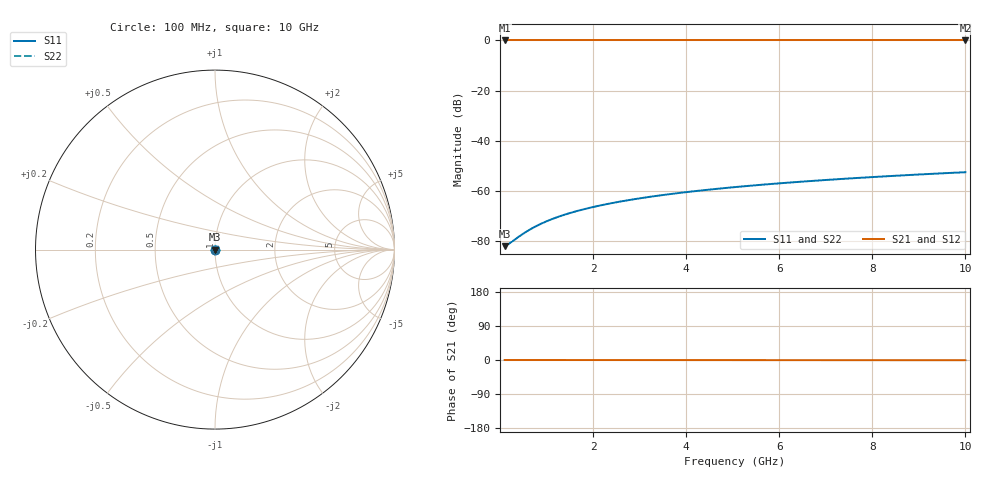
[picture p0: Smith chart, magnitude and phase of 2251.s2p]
# Hz S RI R 50.00
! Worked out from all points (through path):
!   100 points, 100 MHz to 10 GHz, reference 50 ohm
!   highest |S21| = 0.00 dB at 100 MHz (marker M1); lowest = 0.0 dB at 10 GHz (marker M2)
!   lowest |S11| = -81.9 dB at 100 MHz (marker M3), VSWR 1.00, Z = 50 + j0.00237 ohm
!   |S11| at or under -10 dB: start of sweep to end of sweep
!   |S22| runs from -81.9 to -52.5 dB; largest |S21 - S12| = 0
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1e8  7.65e-05 2.37e-05  0.9999 -9.64e-05  0.9999 -9.64e-05  7.65e-05 2.37e-05
2e8  7.7e-05 4.75e-05  0.9999 -0.000193  0.9999 -0.000193  7.7e-05 4.75e-05
3e8  7.73e-05 7.12e-05  0.9999 -0.000289  0.9999 -0.000289  7.73e-05 7.12e-05
5e8  7.79e-05 0.000119  0.9999 -0.000482  0.9999 -0.000482  7.79e-05 0.000119
6e8  7.81e-05 0.000142  0.9999 -0.000578  0.9999 -0.000578  7.81e-05 0.000142
7e8  7.83e-05 0.000166  0.9999 -0.000675  0.9999 -0.000675  7.83e-05 0.000166
9e8  7.87e-05 0.000214  0.9999 -0.000867  0.9999 -0.000867  7.87e-05 0.000214
1.1e9  7.9e-05 0.000261  0.9999 -0.00106  0.9999 -0.00106  7.9e-05 0.000261
1.4e9  7.95e-05 0.000332  0.9999 -0.00135  0.9999 -0.00135  7.95e-05 0.000332
1.6e9  7.99e-05 0.00038  0.9999 -0.00154  0.9999 -0.00154  7.99e-05 0.00038
1.8e9  8.02e-05 0.000427  0.9999 -0.00173  0.9999 -0.00173  8.02e-05 0.000427
2.1e9  8.07e-05 0.000499  0.9999 -0.00202  0.9999 -0.00202  8.07e-05 0.000499
2.5e9  8.14e-05 0.000593  0.9999 -0.00241  0.9999 -0.00241  8.14e-05 0.000593
2.9e9  8.22e-05 0.000688  0.9999 -0.0028  0.9999 -0.0028  8.22e-05 0.000688
3.4e9  8.32e-05 0.000807  0.9999 -0.00328  0.9999 -0.00328  8.32e-05 0.000807
4.2e9  8.51e-05 0.000997  0.9999 -0.00405  0.9999 -0.00405  8.51e-05 0.000997
5.1e9  8.74e-05 0.00121  0.9999 -0.00492  0.9999 -0.00492  8.74e-05 0.00121
5.9e9  8.99e-05 0.0014  0.9999 -0.00569  0.9999 -0.00569  8.99e-05 0.0014
6.7e9  9.26e-05 0.00159  0.9999 -0.00647  0.9999 -0.00647  9.26e-05 0.00159
7.5e9  9.56e-05 0.00178  0.9999 -0.00724  0.9999 -0.00724  9.56e-05 0.00178
8.4e9  9.93e-05 0.002  0.9999 -0.00812  0.9999 -0.00812  9.93e-05 0.002
1e10  0.000107 0.00238  0.9999 -0.00967  0.9999 -0.00967  0.000107 0.00238
